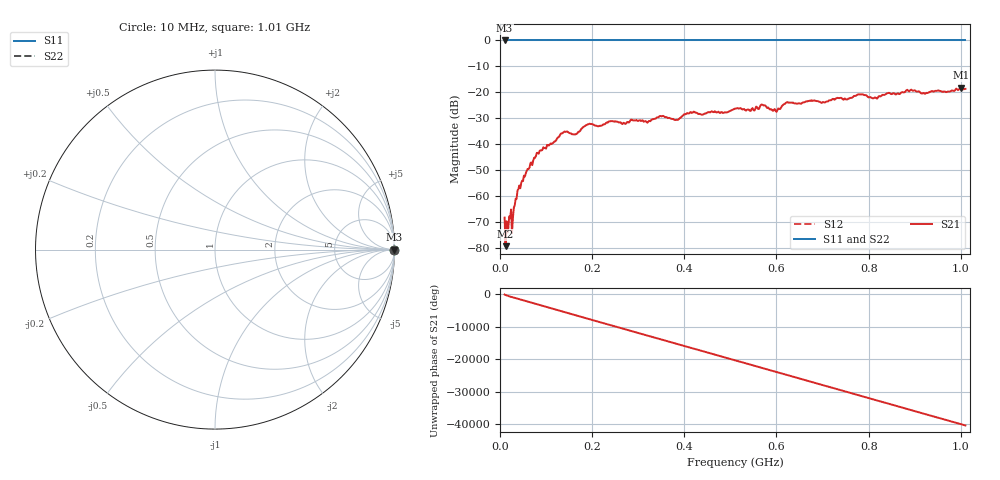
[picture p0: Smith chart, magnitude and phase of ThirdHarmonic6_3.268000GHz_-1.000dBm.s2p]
! 8/17/2025 10:06:17 AM
! C:\ANRITSUVNA\TEMP\TEMP.S2P
! CHANNEL.1
! TR.MEASUREMENT
! RAW.DATA
! RF.CORRECTION.OFF
! AVERAGING.OFF
! IF.BANDWIDTH: 5KHZ
! SWEEPTYPE:  FREQ.SWEEP(Linear)
! Reference Plane Port Info
! PORT:  PORT1  PORT2
! DISTANCE:  0  m  0  m
! TIME:  0  s  0  s
! PHASE.OFFSET:  0  deg.  0  deg.
! LOSS:  0  dB  0  dB
! REF.LOSS:  0  dB  0  dB
! REF.FREQ:  0  Hz  0  Hz
! Power Info
! POWER:  -20  dBm  -20  dBm
! EFF.POWER:  -20  dBm  -20  dBm
! SOURCE.ATTEN:  0  dB  0  dB
! TEST.ATTEN:  0  dB  0  dB
# GHZ S RI R 50.0
! FREQ.GHZ  S11RE  S11IM  S21RE  S21IM  S12RE  S12IM  S22RE  S22IM
!; PortSelection: Port_12
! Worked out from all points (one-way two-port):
!   501 points, 10 MHz to 1.01 GHz, reference 50 ohm
!   highest |S21| = -18.22 dB at 1 GHz (marker M1); lowest = -79.3 dB at 12 MHz (marker M2)
!   lowest |S11| = 0.0 dB at 10 MHz (marker M3)
!   |S11| at or under -10 dB: nowhere
!   |S22| runs from 0.0 to 0.0 dB; largest |S21 - S12| = 1.1
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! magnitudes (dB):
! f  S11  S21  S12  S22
! 10 MHz  0.0  -68.3  0.0  0.0
! 12 MHz  0.0  -79.3  0.0  0.0
! 16 MHz  0.0  -74.2  0.0  0.0
! 30 MHz  0.0  -64.5  0.0  0.0
! 34 MHz  0.0  -61.0  0.0  0.0
! 42 MHz  0.0  -55.9  0.0  0.0
! 78 MHz  0.0  -44.5  0.0  0.0
! 136 MHz  0.0  -35.8  0.0  0.0
! 162 MHz  0.0  -36.3  0.0  0.0
! 178 MHz  0.0  -33.9  0.0  0.0
! 344 MHz  0.0  -29.6  0.0  0.0
! 382 MHz  0.0  -30.7  0.0  0.0
! 416 MHz  0.0  -27.9  0.0  0.0
! 510 MHz  0.0  -26.3  0.0  0.0
! 570 MHz  0.0  -24.8  0.0  0.0
! 596 MHz  0.0  -26.5  0.0  0.0
! 624 MHz  0.0  -23.8  0.0  0.0
! 678 MHz  0.0  -23.3  0.0  0.0
! 814 MHz  0.0  -22.0  0.0  0.0
! 844 MHz  0.0  -20.2  0.0  0.0
! 1 GHz  0.0  -18.2  0.0  0.0
! 1.01 GHz  0.0  -18.7  0.0  0.0
